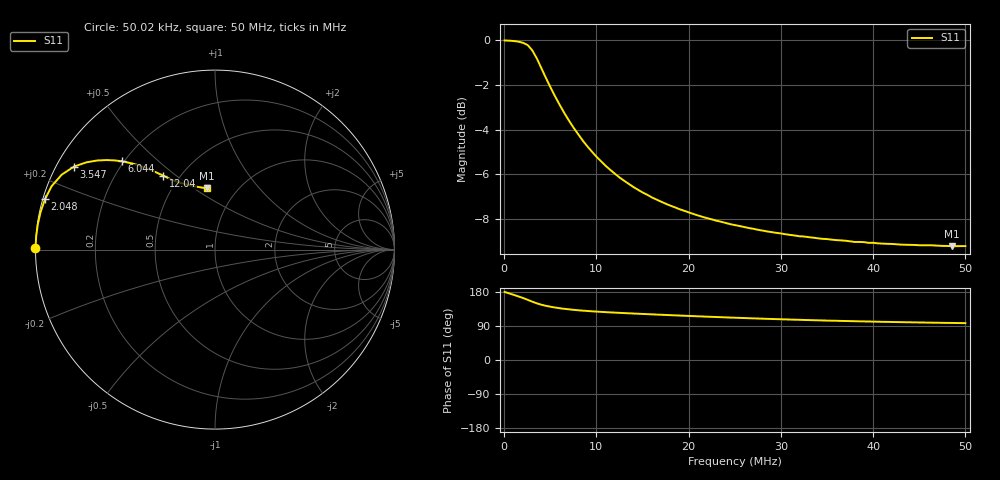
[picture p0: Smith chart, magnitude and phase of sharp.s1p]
! File created by NanoVNA (https://gen111.taobao.com/)
! Start 50016Hz  Stop 50000000Hz  Points 101
# HZ S MA R 50
!S - Parameter data, F S11
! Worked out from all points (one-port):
!   101 points, 50.02 kHz to 50 MHz, reference 50 ohm
!   lowest |S11| = -9.2 dB at 48.5 MHz (marker M1), VSWR 2.06, Z = 36.3 + j28.2 ohm
!   |S11| at or under -10 dB: nowhere
!   S11 on the Smith chart (normalised r, x): 50.02 kHz: -0.00, +0.00; 2.048 MHz: 0.01, +0.14; 3.547 MHz: 0.05, +0.27; 6.044 MHz: 0.19, +0.39; 12.04 MHz: 0.41, +0.45; 50 MHz: 0.73, +0.57
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50016  1 179.6
549515  0.9991 175.7
1049015  0.9972 171.8
1548515  0.994 167.8
2048015  0.9879 163.5
2547515  0.9766 158.8
3047015  0.9505 153.9
3546515  0.9112 149.5
4046014  0.8659 145.8
4545514  0.8227 142.9
5045014  0.7835 140.4
5544514  0.7479 138.4
6044014  0.7157 136.5
6543513  0.6865 135.0
7542514  0.6366 132.3
8541513  0.5957 130.2
9041013  0.5783 129.3
1.053951e7  0.5351 126.9
1.203801e7  0.5021 125.0
1.253751e7  0.4924 124.4
1.503501e7  0.456 121.5
1.903101e7  0.4184 117.3
2.502501e7  0.3855 111.6
3.151851e7  0.3654 106.4
3.75125e7  0.3546 102.6
4.4006e7  0.3482 99.5
4.85015e7  0.3458 97.8
5e7  0.346 97.3
